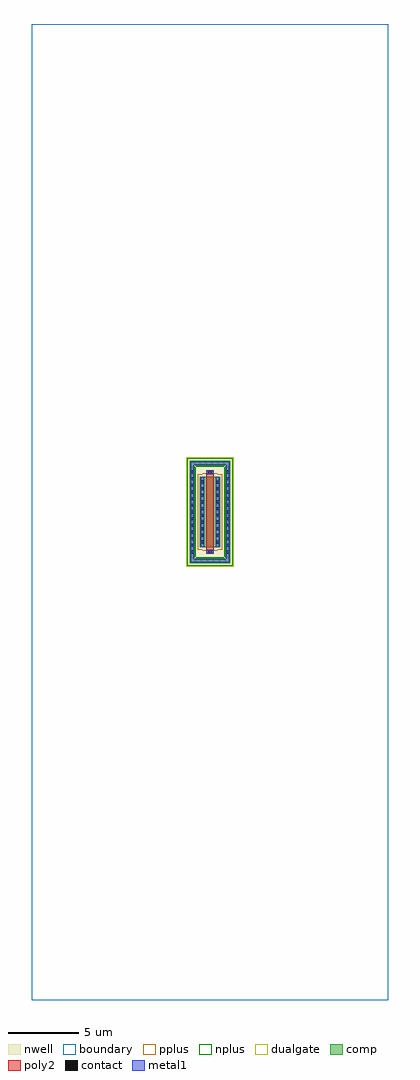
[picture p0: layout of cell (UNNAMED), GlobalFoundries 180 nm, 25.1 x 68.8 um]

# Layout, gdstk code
import gdstk
lib = gdstk.Library(unit=1e-6, precision=1e-09)
def R(c, l, rs):  # rectangles x0, y0, x1, y1
    for r in rs: c.add(gdstk.rectangle(r[:2], r[2:], *l))
def A(c, l, x, y, w, h, nx, ny, dx, dy):  # array of equal rectangles
    R(c, l, [(x+i*dx, y+j*dy, x+i*dx+w, y+j*dy+h) for i in range(nx) for j in range(ny)])
boundary = (0, 0)
nwell = (21, 0)
comp = (22, 0)
poly2 = (30, 0)
pplus = (31, 0)
nplus = (32, 0)
contact = (33, 0)
metal1 = (34, 0)
dualgate = (55, 0)

c__unnamed_ = lib.new_cell('(UNNAMED)')
R(c__unnamed_, boundary, [(-12.55,-34.4,12.55,34.4)])
R(c__unnamed_, nwell, [(-1.595,-3.78,1.595,3.78)])
R(c__unnamed_, comp, [(-1.435,-3.62,1.435,-3.26), (-1.435,-3.26,-1.075,3.26), (1.075,-3.26,1.435,3.26), (-0.715,-2.5,0.715,2.5), (-1.435,3.26,1.435,3.62)])
R(c__unnamed_, poly2, [(-0.275,-2.96,0.275,2.96)])
R(c__unnamed_, pplus, [(-0.505,-2.73,0.505,-2.66), (-0.875,-2.66,0.875,2.66), (-0.505,2.66,0.505,2.73)])
R(c__unnamed_, nplus, [(-1.595,-3.78,1.595,-3.19), (-1.595,-3.19,-1.005,3.19), (1.005,-3.19,1.595,3.19), (-1.595,3.19,1.595,3.78)])
A(c__unnamed_, contact, -1.365, -2.93, 0.22, 0.22, 1, 13, 0, 0.47)
A(c__unnamed_, contact, 1.145, -2.93, 0.22, 0.22, 1, 13, 0, 0.47)
A(c__unnamed_, contact, -0.645, -2.225, 0.22, 0.22, 1, 10, 0, 0.47)
A(c__unnamed_, contact, 0.425, -2.225, 0.22, 0.22, 1, 10, 0, 0.47)
R(c__unnamed_, contact, [(-0.11,-2.89,0.11,-2.67), (-0.11,2.67,0.11,2.89)])
R(c__unnamed_, metal1, [(-1.37,-3.555,1.37,-3.325), (-1.37,-3.325,-1.14,3.325), (1.14,-3.325,1.37,3.325), (-0.265,-2.895,0.265,-2.665), (-0.65,-2.49,-0.42,2.49), (0.42,-2.49,0.65,2.49), (-0.265,2.665,0.265,2.895), (-1.37,3.325,1.37,3.555)])
R(c__unnamed_, dualgate, [(-1.675,-3.86,1.675,3.86)])

lib.write_gds('_UNNAMED_.gds')
